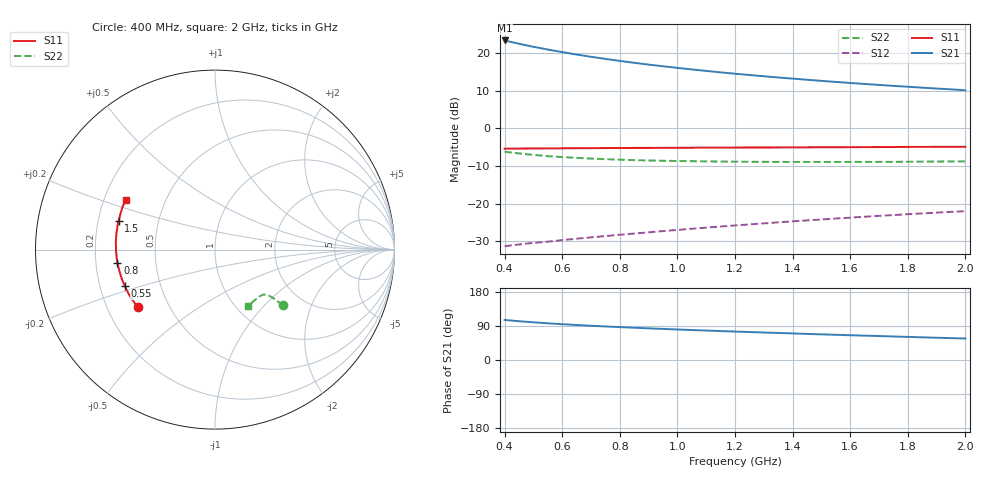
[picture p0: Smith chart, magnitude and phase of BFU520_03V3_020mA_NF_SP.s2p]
! Filename:  P:\Prog\Test\Noise\ATS_data\Testdata_Net\06 Compressed Noise after Statistics\BFU520_APG2013_37_A05_03p3V_020mA_NF_CM01_D.sf
! Date/Time: Fri 26/Apr/2013 14:13:18
! BFU520_APG2013_37_A05_03p3V_1to20mA_NF_CM01_Bias8_R.sf
! Noise Parameter Data File
! BFU520_APG2013_37_A05_03p3V_1to20mA_NF_CM01
! Date/time: Tue Apr 23 15:18:41 2013
! VAR V_out= 3.300000
! VAR I_out= 19.995000
! VAR V_in= 0.858300
! VAR I_in= 0.242550
! Device data file deembeded for feedlines and parallel
! Original file: \06 Compressed Noise after Statistics\BFU520_APG2013_37_A05_03p3V_020mA_NF_CM01_R.sf
! Feed-files: PR047V01_250413_Feed1.s2p, PR047V01_250413_Feed2.s2p
! Parallel-file: PR047V01_250413_Par.s2p
# MHz S MA R 50
!  Freq-MHz  S11-mag  S11-arg  S21-mag  S21-arg  S12-mag  S12-arg  S22-mag  S22-arg
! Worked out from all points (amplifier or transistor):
!   37 points, 400 MHz to 2 GHz, reference 50 ohm
!   highest |S21| = 23.3 dB at 400 MHz (marker M1)
!   |S21| within 3 dB of that: start of sweep to 593.5 MHz
!   unconditionally stable (mu >= 1): 1.016 GHz to end of sweep
!   at 500 MHz: K = 0.73, MSG = 26.0 dB, |S12| = -30.4 dB
!   at 1.1 GHz: K = 1.02, MAG = 20.0 dB, |S12| = -26.3 dB
!   at 2 GHz: K = 1.10, MAG = 14.1 dB, |S12| = -22.0 dB
!   lowest NFmin = 1.14 dB at 440 MHz
!   S11 on the Smith chart (normalised r, x): 400 MHz: 0.33, -0.30; 550 MHz: 0.31, -0.18; 800 MHz: 0.29, -0.06; 1.5 GHz: 0.29, +0.14; 2 GHz: 0.29, +0.24
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400  0.5365 -143.4  14.65 105.7  0.02732 51.4  0.4896 -39.0
433  0.5378 -147.1  13.7 103.5  0.02829 51.5  0.4723 -39.3
460  0.5392 -149.9  13 101.8  0.02907 51.7  0.4607 -39.5
480  0.5403 -151.7  12.53 100.6  0.02962 51.8  0.4519 -39.6
500  0.5409 -153.6  12.08 99.5  0.03015 52.0  0.4447 -39.7
550  0.5415 -157.8  11.11 96.8  0.03136 52.9  0.4274 -39.6
600  0.5434 -161.3  10.27 94.5  0.03288 53.5  0.4157 -39.9
650  0.5449 -164.5  9.535 92.4  0.03431 54.1  0.4052 -40.2
700  0.5455 -167.2  8.897 90.4  0.03575 54.9  0.397 -40.4
750  0.5473 -170.1  8.336 88.5  0.03722 55.7  0.39 -40.7
800  0.5481 -172.4  7.844 86.8  0.03871 56.4  0.3837 -41.1
850  0.5498 -174.7  7.405 85.2  0.0402 57.0  0.3786 -41.4
900  0.5497 -177.0  7.008 83.5  0.04172 57.7  0.3746 -42.0
950  0.5516 -179.0  6.658 82.0  0.04329 58.3  0.371 -42.4
1050  0.553 177.1  6.044 79.1  0.04649 59.3  0.3664 -43.6
1150  0.5546 173.8  5.529 76.4  0.04978 60.2  0.3624 -44.8
1200  0.5553 172.1  5.306 75.0  0.05143 60.6  0.3612 -45.6
1350  0.5577 167.6  4.73 71.3  0.05656 61.6  0.3587 -47.7
1500  0.5612 163.3  4.265 67.7  0.06181 62.2  0.3584 -50.2
1600  0.5623 160.4  3.996 65.3  0.06528 62.5  0.3585 -51.9
1750  0.5649 156.7  3.657 62.1  0.07064 62.9  0.3591 -54.5
2000  0.5687 150.9  3.199 56.6  0.07951 63.0  0.3639 -59.4
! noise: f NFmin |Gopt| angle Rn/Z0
400  1.206  0.2535  -175.7  0.0902
460  1.153  0.2576  -173.1  0.0873
600  1.24  0.2489  -165  0.0965
800  1.245  0.2976  -165.1  0.0805
1000  1.278  0.3186  -162.6  0.0786
1200  1.315  0.3295  -157.8  0.0839
1400  1.344  0.3381  -153.5  0.0897
1600  1.386  0.3595  -150  0.0936
1800  1.377  0.3737  -146.1  0.0966
2000  1.471  0.3835  -142.6  0.1161
